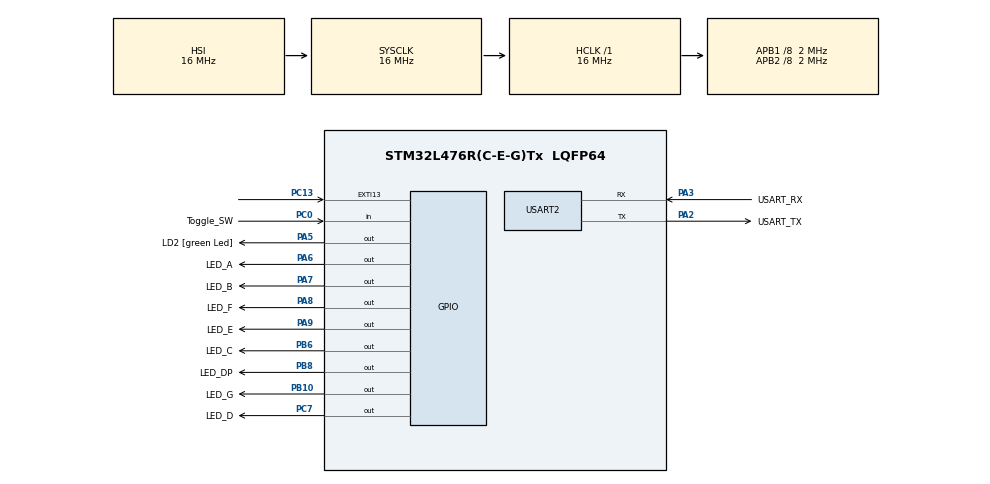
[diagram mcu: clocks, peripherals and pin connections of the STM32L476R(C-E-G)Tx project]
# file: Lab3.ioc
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Mcu.Family=STM32L4
Mcu.Name=STM32L476R(C-E-G)Tx
Mcu.Package=LQFP64
NVIC.EXTI15_10_IRQn=true\:0\:0\:false\:false\:true\:true\:true\:true
NVIC.PriorityGroup=NVIC_PRIORITYGROUP_4
NVIC.TIM3_IRQn=true\:0\:0\:false\:false\:true\:true\:true\:true
PA13\ (JTMS-SWDIO).GPIO_Label=TMS
PA13\ (JTMS-SWDIO).Mode=Serial_Wire
PA13\ (JTMS-SWDIO).Signal=SYS_JTMS-SWDIO
PA14\ (JTCK-SWCLK).GPIO_Label=TCK
PA14\ (JTCK-SWCLK).Mode=Serial_Wire
PA14\ (JTCK-SWCLK).Signal=SYS_JTCK-SWCLK
PA2.GPIO_Label=USART_TX
PA2.GPIO_Mode=GPIO_MODE_AF_PP
PA2.GPIO_PuPd=GPIO_NOPULL
PA2.GPIO_Speed=GPIO_SPEED_FREQ_VERY_HIGH
PA2.Mode=Asynchronous
PA2.Signal=USART2_TX
PA3.GPIO_Label=USART_RX
PA3.GPIO_Mode=GPIO_MODE_AF_PP
PA3.GPIO_PuPd=GPIO_NOPULL
PA3.GPIO_Speed=GPIO_SPEED_FREQ_VERY_HIGH
PA3.Mode=Asynchronous
PA3.Signal=USART2_RX
PA5.GPIO_Label=LD2 [green Led]
PA5.GPIO_ModeDefaultOutputPP=GPIO_MODE_OUTPUT_PP
PA5.GPIO_PuPd=GPIO_NOPULL
PA5.GPIO_Speed=GPIO_SPEED_FREQ_LOW
PA5.Signal=GPIO_Output
PA6.GPIO_Label=LED_A
PA6.Signal=GPIO_Output
PA7.GPIO_Label=LED_B
PA7.Signal=GPIO_Output
PA8.GPIO_Label=LED_F
PA8.Signal=GPIO_Output
PA9.GPIO_Label=LED_E
PA9.Signal=GPIO_Output
PB10.GPIO_Label=LED_G
PB10.Signal=GPIO_Output
PB3\ (JTDO-TRACESWO).GPIO_Label=SWO
PB3\ (JTDO-TRACESWO).Signal=SYS_JTDO-SWO
PB6.GPIO_Label=LED_C
PB6.Signal=GPIO_Output
PB8.GPIO_Label=LED_DP
PB8.Signal=GPIO_Output
PC0.GPIO_Label=Toggle_SW
PC0.Signal=GPIO_Input
PC13.Signal=GPXTI13
PC14-OSC32_IN\ (PC14).Mode=LSE-External-Oscillator
PC14-OSC32_IN\ (PC14).Signal=RCC_OSC32_IN
PC15-OSC32_OUT\ (PC15).Mode=LSE-External-Oscillator
PC15-OSC32_OUT\ (PC15).Signal=RCC_OSC32_OUT
PC7.GPIO_Label=LED_D
PC7.Signal=GPIO_Output
PH0-OSC_IN\ (PH0).Signal=RCC_OSC_IN
PH1-OSC_OUT\ (PH1).Signal=RCC_OSC_OUT
ProjectManager.HeapSize=0x200
ProjectManager.StackSize=0x400
ProjectManager.TargetToolchain=STM32CubeIDE
RCC.ADCFreq_Value=64000000
RCC.AHBFreq_Value=16000000
RCC.APB1CLKDivider=RCC_HCLK_DIV8
RCC.APB1Freq_Value=2000000
RCC.APB1TimFreq_Value=4000000
RCC.APB2CLKDivider=RCC_HCLK_DIV8
RCC.APB2Freq_Value=2000000
RCC.APB2TimFreq_Value=4000000
RCC.CortexFreq_Value=16000000
RCC.HCLKFreq_Value=16000000
RCC.HSE_VALUE=8000000
RCC.HSI_VALUE=16000000
RCC.MSI_VALUE=4000000
RCC.PLLN=10
RCC.PLLSourceVirtual=RCC_PLLSOURCE_HSI
RCC.PREFETCH_ENABLE=1
RCC.SYSCLKFreq_VALUE=16000000
RCC.SYSCLKSource=RCC_SYSCLKSOURCE_HSI
RCC.USBFreq_Value=64000000
RCC.VCOOutputFreq_Value=160000000
TIM3.Period=999
TIM3.Prescaler=3
USART2.VirtualMode-Asynchronous=VM_ASYNC
VP_TIM3_VS_ClockSourceINT.Mode=Internal
board=NUCLEO-L476RG

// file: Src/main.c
/* USER CODE BEGIN Header */
/**
  ******************************************************************************
  * @file           : main.c
  * @brief          : Main program body
  ******************************************************************************
  * @attention
  *
  * Copyright (c) 2026 STMicroelectronics.
  * All rights reserved.
  *
  * This software is licensed under terms that can be found in the LICENSE file
  * in the root directory of this software component.
  * If no LICENSE file comes with this software, it is provided AS-IS.
  *
  ******************************************************************************
  */
/* USER CODE END Header */
#include "main.h"

/* USER CODE BEGIN Includes */
#include <stdio.h>
#include <string.h>
#include <stdint.h>
#include <stdlib.h>
#include <time.h>
/* USER CODE END Includes */

TIM_HandleTypeDef htim3;

UART_HandleTypeDef huart2;

void SystemClock_Config(void);
static void MX_GPIO_Init(void);

static void MX_USART2_UART_Init(void);
static void MX_TIM3_Init(void);
/* USER CODE BEGIN PFP */
typedef enum {READY = 0, WAIT_RELEASE, COUNTDOWN_DELAY, TIMING} app_state_t;
volatile app_state_t g_state = READY;
volatile uint8_t g_button_event = 0; //set by EXTI
volatile uint32_t reaction_time = 0;
volatile uint8_t g_meas_done = 0;
volatile uint8_t press_seen = 0; // Falling edge
volatile uint8_t start_req = 0; // Full click detected
volatile uint8_t stop_req = 0; // Press during timing
/* USER CODE END PFP */

/* USER CODE BEGIN 0 */
static void set_seg(GPIO_TypeDef * port, uint16_t pin, GPIO_PinState state) // takes in what port =, pin, and on or off
{
	HAL_GPIO_WritePin(port, pin, state);
}
void disp(uint8_t pattern) // Provided with a hex value for pattern
{
	set_seg(LED_A_GPIO_Port, LED_A_Pin, (pattern & (1<<0)) ? GPIO_PIN_SET : GPIO_PIN_RESET);
	set_seg(LED_B_GPIO_Port, LED_B_Pin, (pattern & (1<<1)) ? GPIO_PIN_SET : GPIO_PIN_RESET);
	set_seg(LED_C_GPIO_Port, LED_C_Pin, (pattern & (1<<2)) ? GPIO_PIN_SET : GPIO_PIN_RESET);
	set_seg(LED_D_GPIO_Port, LED_D_Pin, (pattern & (1<<3)) ? GPIO_PIN_SET : GPIO_PIN_RESET);
	set_seg(LED_E_GPIO_Port, LED_E_Pin, (pattern & (1<<4)) ? GPIO_PIN_SET : GPIO_PIN_RESET);
	set_seg(LED_F_GPIO_Port, LED_F_Pin, (pattern & (1<<5)) ? GPIO_PIN_SET : GPIO_PIN_RESET);
	set_seg(LED_G_GPIO_Port, LED_G_Pin, (pattern & (1<<6)) ? GPIO_PIN_SET : GPIO_PIN_RESET);
	//set_seg(LED_DP_GPIO_Port, LED_DP_Pin, (pattern & (1<<7)) ? GPIO_PIN_SET : GPIO_PIN_RESET);
}
void HAL_TIM_PeriodElapsedCallback(TIM_HandleTypeDef *htim)
{
	if (htim->Instance == TIM3)
	{
		if(g_state == TIMING)
		{
			reaction_time++; // Increment by 1ms
		}
	}
}
void HAL_GPIO_EXTI_Callback(uint16_t GPIO_Pin)
{
	if(GPIO_Pin == GPIO_PIN_13)
	{
		// Flag for button edge event
		GPIO_PinState level = HAL_GPIO_ReadPin(GPIOC, GPIO_PIN_13);
		if(level == GPIO_PIN_RESET)
		{
			// Button is on falling edge
			if (g_state == READY)
			{
				press_seen = 1; //button on
			}
			else if (g_state == TIMING)
			{
				stop_req = 1; //as soon as state changes, request to stop
			}
		}
		else
		{
			// Button is on rsigin edge
			if(g_state == READY && press_seen)
			{
				press_seen = 0; //reset
				start_req = 1; // full press happened
			}
		}
	}
}
/* USER CODE END 0 */

int main(void)
{
  /* USER CODE BEGIN 1 */
	uint8_t MSG[35];
	unsigned char lookup[16] = {0x3f, 0x06, 0x5b, 0x4f, 0x66, 0x6d, 0x7d, 0x07, 0x7f, 0x6f, 0x77, 0x7c, 0x39, 0x5e, 0x79, 0x71};

  /* USER CODE END 1 */

  /* MCU Configuration--------------------------------------------------------*/

  /* Reset of all peripherals, Initializes the Flash interface and the Systick. */
  HAL_Init();

  /* Configure the system clock */
  SystemClock_Config();

  /* Initialize all configured peripherals */
  MX_GPIO_Init();
  MX_USART2_UART_Init();
  MX_TIM3_Init();
  /* USER CODE BEGIN 2 */
  HAL_GPIO_WritePin(LD2_GPIO_Port, LD2_Pin, GPIO_PIN_SET);
  HAL_Delay(200);
  HAL_GPIO_WritePin(LD2_GPIO_Port, LD2_Pin, GPIO_PIN_RESET);
  HAL_Delay(200);
  srand(HAL_GetTick()); // Seed random function
  /* USER CODE END 2 */

  /* Infinite loop */
  /* USER CODE BEGIN WHILE */
  disp(0x00);
  HAL_GPIO_WritePin(LD2_GPIO_Port, LD2_Pin, GPIO_PIN_RESET);
  sprintf(MSG, "Ready\r\n");
  HAL_UART_Transmit(&huart2, (uint8_t*)MSG, strlen(MSG), 100);
  g_state = READY;
  while (1)
  {
	  // Waiting mode
	  if(g_state == READY)
	  {
		  // Wait for interrupt flag
		  if(start_req)
		  {
			  start_req = 0;
			  sprintf(MSG, "Measuring\r\n");
			  HAL_UART_Transmit(&huart2, (uint8_t*)MSG, strlen(MSG), 100);
			  g_state = COUNTDOWN_DELAY;
		  }
	  }
	  else if(g_state == COUNTDOWN_DELAY)
	  {
		  disp(lookup[3]);
		  HAL_Delay(1000);
		  disp(lookup[2]);
		  HAL_Delay(1000);
		  disp(lookup[1]);
		  HAL_Delay(1000);
		  disp(0x00); // Clear display
		  HAL_Delay(1000);
		  uint32_t random_time = 1000u + (rand() % 3001u);
		  HAL_Delay(random_time);

		  // Start timing
		  reaction_time = 0;
		  g_meas_done = 0;
		  HAL_GPIO_WritePin(LD2_GPIO_Port, LD2_Pin, GPIO_PIN_SET); // Turn on green LED
		  HAL_TIM_Base_Start_IT(&htim3); // Start timer
		  g_state = TIMING;	// set state to timing state
	  }
	  else if (g_state == TIMING)
	  {
		  if(stop_req)
		  {
			  stop_req = 0;
			  // Stop the timer
			  HAL_TIM_Base_Stop_IT(&htim3);
			  HAL_GPIO_WritePin(LD2_GPIO_Port, LD2_Pin, GPIO_PIN_RESET); // Turn off
			  uint32_t ms = reaction_time;
			  uint32_t sec = ms / 1000u; // get whole number of seconds
			  uint32_t rem = ms % 1000u; // get remaining in ms

			  sprintf(MSG, "Reaction Time: %lu.%03lu\r\n", sec, rem);
			  HAL_UART_Transmit(&huart2, (uint8_t*)MSG, strlen(MSG), 100);
			  disp(0x00); // Clear display

			  sprintf(MSG, "Ready\r\n");
			  HAL_UART_Transmit(&huart2, (uint8_t*)MSG, strlen(MSG), 100);
			  g_state = READY; //Go back to state 1

		  }
	  }

	  // Display reaction time

	  // Go back to Ready mode

    /* USER CODE END WHILE */

  }
}

void SystemClock_Config(void)
{
  RCC_OscInitTypeDef RCC_OscInitStruct = {0};
  RCC_ClkInitTypeDef RCC_ClkInitStruct = {0};

  /** Configure the main internal regulator output voltage
  */
  if (HAL_PWREx_ControlVoltageScaling(PWR_REGULATOR_VOLTAGE_SCALE1) != HAL_OK)
  {
    Error_Handler();
  }

  /** Initializes the RCC Oscillators according to the specified parameters
  * in the RCC_OscInitTypeDef structure.
  */
  RCC_OscInitStruct.OscillatorType = RCC_OSCILLATORTYPE_HSI;
  RCC_OscInitStruct.HSIState = RCC_HSI_ON;
  RCC_OscInitStruct.HSICalibrationValue = RCC_HSICALIBRATION_DEFAULT;
  RCC_OscInitStruct.PLL.PLLState = RCC_PLL_NONE;
  if (HAL_RCC_OscConfig(&RCC_OscInitStruct) != HAL_OK)
  {
    Error_Handler();
  }

  /** Initializes the CPU, AHB and APB buses clocks
  */
  RCC_ClkInitStruct.ClockType = RCC_CLOCKTYPE_HCLK|RCC_CLOCKTYPE_SYSCLK
                              |RCC_CLOCKTYPE_PCLK1|RCC_CLOCKTYPE_PCLK2;
  RCC_ClkInitStruct.SYSCLKSource = RCC_SYSCLKSOURCE_HSI;
  RCC_ClkInitStruct.AHBCLKDivider = RCC_SYSCLK_DIV1;
  RCC_ClkInitStruct.APB1CLKDivider = RCC_HCLK_DIV8;
  RCC_ClkInitStruct.APB2CLKDivider = RCC_HCLK_DIV8;

  if (HAL_RCC_ClockConfig(&RCC_ClkInitStruct, FLASH_LATENCY_0) != HAL_OK)
  {
    Error_Handler();
  }
}

static void MX_TIM3_Init(void)
{

  TIM_ClockConfigTypeDef sClockSourceConfig = {0};
  TIM_MasterConfigTypeDef sMasterConfig = {0};

  htim3.Instance = TIM3;
  htim3.Init.Prescaler = 3;
  htim3.Init.CounterMode = TIM_COUNTERMODE_UP;
  htim3.Init.Period = 999;
  htim3.Init.ClockDivision = TIM_CLOCKDIVISION_DIV1;
  htim3.Init.AutoReloadPreload = TIM_AUTORELOAD_PRELOAD_DISABLE;
  if (HAL_TIM_Base_Init(&htim3) != HAL_OK)
  {
    Error_Handler();
  }
  sClockSourceConfig.ClockSource = TIM_CLOCKSOURCE_INTERNAL;
  if (HAL_TIM_ConfigClockSource(&htim3, &sClockSourceConfig) != HAL_OK)
  {
    Error_Handler();
  }
  sMasterConfig.MasterOutputTrigger = TIM_TRGO_RESET;
  sMasterConfig.MasterSlaveMode = TIM_MASTERSLAVEMODE_DISABLE;
  if (HAL_TIMEx_MasterConfigSynchronization(&htim3, &sMasterConfig) != HAL_OK)
  {
    Error_Handler();
  }

}

static void MX_USART2_UART_Init(void)
{

  huart2.Instance = USART2;
  huart2.Init.BaudRate = 115200;
  huart2.Init.WordLength = UART_WORDLENGTH_8B;
  huart2.Init.StopBits = UART_STOPBITS_1;
  huart2.Init.Parity = UART_PARITY_NONE;
  huart2.Init.Mode = UART_MODE_TX_RX;
  huart2.Init.HwFlowCtl = UART_HWCONTROL_NONE;
  huart2.Init.OverSampling = UART_OVERSAMPLING_16;
  huart2.Init.OneBitSampling = UART_ONE_BIT_SAMPLE_DISABLE;
  huart2.AdvancedInit.AdvFeatureInit = UART_ADVFEATURE_NO_INIT;
  if (HAL_UART_Init(&huart2) != HAL_OK)
  {
    Error_Handler();
  }

}

static void MX_GPIO_Init(void)
{
  GPIO_InitTypeDef GPIO_InitStruct = {0};

  /* GPIO Ports Clock Enable */
  __HAL_RCC_GPIOC_CLK_ENABLE();
  __HAL_RCC_GPIOH_CLK_ENABLE();
  __HAL_RCC_GPIOA_CLK_ENABLE();
  __HAL_RCC_GPIOB_CLK_ENABLE();

  /*Configure GPIO pin Output Level */
  HAL_GPIO_WritePin(GPIOA, LD2_Pin|LED_A_Pin|LED_B_Pin|LED_F_Pin
                          |LED_E_Pin, GPIO_PIN_RESET);

  /*Configure GPIO pin Output Level */
  HAL_GPIO_WritePin(GPIOB, LED_G_Pin|LED_C_Pin|LED_DP_Pin, GPIO_PIN_RESET);

  /*Configure GPIO pin Output Level */
  HAL_GPIO_WritePin(LED_D_GPIO_Port, LED_D_Pin, GPIO_PIN_RESET);

  /*Configure GPIO pin : PC13 */
  GPIO_InitStruct.Pin = GPIO_PIN_13;
  GPIO_InitStruct.Mode = GPIO_MODE_IT_RISING_FALLING;
  GPIO_InitStruct.Pull = GPIO_NOPULL;
  HAL_GPIO_Init(GPIOC, &GPIO_InitStruct);

  /*Configure GPIO pin : Toggle_SW_Pin */
  GPIO_InitStruct.Pin = Toggle_SW_Pin;
  GPIO_InitStruct.Mode = GPIO_MODE_INPUT;
  GPIO_InitStruct.Pull = GPIO_NOPULL;
  HAL_GPIO_Init(Toggle_SW_GPIO_Port, &GPIO_InitStruct);

  /*Configure GPIO pins : LD2_Pin LED_A_Pin LED_B_Pin LED_F_Pin
                           LED_E_Pin */
  GPIO_InitStruct.Pin = LD2_Pin|LED_A_Pin|LED_B_Pin|LED_F_Pin
                          |LED_E_Pin;
  GPIO_InitStruct.Mode = GPIO_MODE_OUTPUT_PP;
  GPIO_InitStruct.Pull = GPIO_NOPULL;
  GPIO_InitStruct.Speed = GPIO_SPEED_FREQ_LOW;
  HAL_GPIO_Init(GPIOA, &GPIO_InitStruct);

  /*Configure GPIO pins : LED_G_Pin LED_C_Pin LED_DP_Pin */
  GPIO_InitStruct.Pin = LED_G_Pin|LED_C_Pin|LED_DP_Pin;
  GPIO_InitStruct.Mode = GPIO_MODE_OUTPUT_PP;
  GPIO_InitStruct.Pull = GPIO_NOPULL;
  GPIO_InitStruct.Speed = GPIO_SPEED_FREQ_LOW;
  HAL_GPIO_Init(GPIOB, &GPIO_InitStruct);

  /*Configure GPIO pin : LED_D_Pin */
  GPIO_InitStruct.Pin = LED_D_Pin;
  GPIO_InitStruct.Mode = GPIO_MODE_OUTPUT_PP;
  GPIO_InitStruct.Pull = GPIO_NOPULL;
  GPIO_InitStruct.Speed = GPIO_SPEED_FREQ_LOW;
  HAL_GPIO_Init(LED_D_GPIO_Port, &GPIO_InitStruct);

  /* EXTI interrupt init*/
  HAL_NVIC_SetPriority(EXTI15_10_IRQn, 0, 0);
  HAL_NVIC_EnableIRQ(EXTI15_10_IRQn);

}

void Error_Handler(void)
{
  /* USER CODE BEGIN Error_Handler_Debug */
  /* User can add his own implementation to report the HAL error return state */
  __disable_irq();
  while (1)
  {
	  HAL_GPIO_TogglePin(LD2_GPIO_Port, LD2_Pin);
	  HAL_Delay(200);
  }
  /* USER CODE END Error_Handler_Debug */
}
